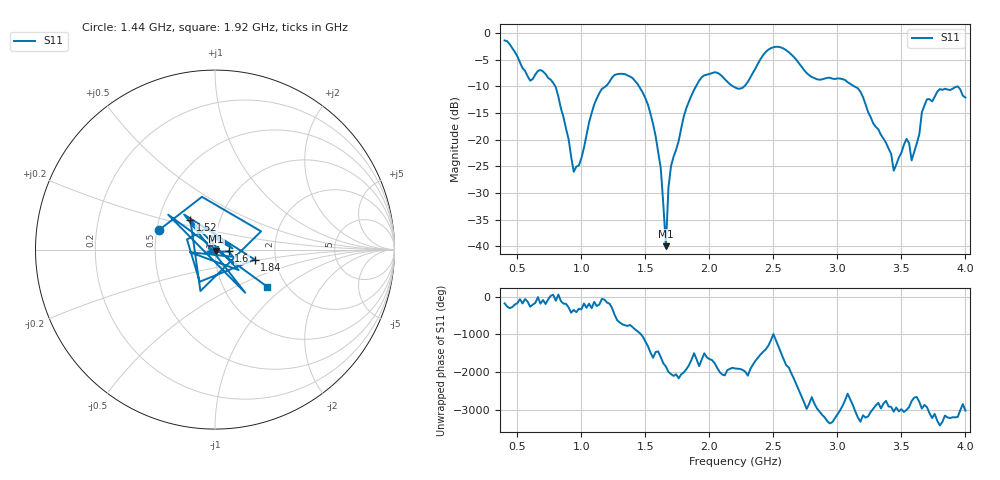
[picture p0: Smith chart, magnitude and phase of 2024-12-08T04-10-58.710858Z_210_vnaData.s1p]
!Created with skrf (http://scikit-rf.org).
# Hz S RI R 50.0
!freq ReS11 ImS11
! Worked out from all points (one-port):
!   181 points, 400 MHz to 4 GHz, reference 50 ohm
!   lowest |S11| = -39.9 dB at 1.66 GHz (marker M1), VSWR 1.02, Z = 50.7 - j0.735 ohm
!   |S11| at or under -10 dB: 796.5 MHz to 1.188 GHz (391.4 MHz wide, 39.4 % of centre); 1.451 GHz to 1.895 GHz (444 MHz wide, 26.5 % of centre); 3.134 GHz to 3.938 GHz (803.8 MHz wide, 22.7 % of centre) (the widest 3 of 5)
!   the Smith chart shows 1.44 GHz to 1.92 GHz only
!   S11 on the Smith chart (normalised r, x): 1.44 GHz: 0.51, +0.12; 1.52 GHz: 0.72, +0.25; 1.6 GHz: 1.17, -0.02; 1.84 GHz: 1.56, -0.18; 1.92 GHz: 1.60, -0.76
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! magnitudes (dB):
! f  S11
! 400 MHz  -1.4
! 600 MHz  -8.9
! 680 MHz  -6.9
! 780 MHz  -9.3
! 860 MHz  -15.7
! 940 MHz  -26.0
! 1.12 GHz  -12.3
! 1.3 GHz  -7.6
! 1.44 GHz  -9.6
! 1.52 GHz  -13.4
! 1.6 GHz  -22.3
! 1.62 GHz  -25.3
! 1.66 GHz  -39.9
! 1.68 GHz  -29.0
! 1.7 GHz  -24.9
! 1.76 GHz  -20.2
! 1.84 GHz  -12.8
! 1.92 GHz  -8.9
! 2.2 GHz  -10.2
! 2.48 GHz  -2.8
! 2.66 GHz  -4.5
! 3.1 GHz  -9.5
! 3.18 GHz  -11.0
! 3.44 GHz  -25.8
! 3.56 GHz  -20.6
! 3.58 GHz  -23.9
! 3.7 GHz  -12.4
! 4 GHz  -12.1
